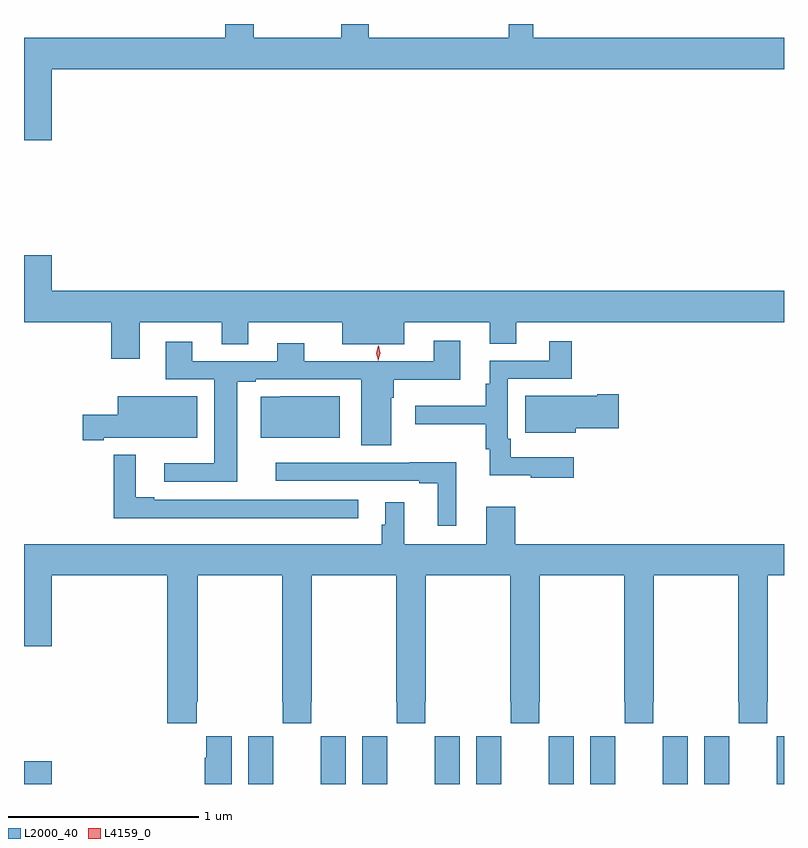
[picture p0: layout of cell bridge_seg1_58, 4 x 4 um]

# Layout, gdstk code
import gdstk
lib = gdstk.Library(unit=1e-6, precision=1e-09)
def R(c, l, rs):  # rectangles x0, y0, x1, y1
    for r in rs: c.add(gdstk.rectangle(r[:2], r[2:], *l))
def P(c, l, *ps):  # polygons
    for p in ps: c.add(gdstk.Polygon(p, *l))
L2000_40 = (2000, 40)
L4159_0 = (4159, 0)

bridge_seg1_58 = lib.new_cell('bridge_seg1_58')
R(bridge_seg1_58, L2000_40, [(440.751,561.289,440.896,561.409)])
P(bridge_seg1_58, L2000_40, [(440.896,565.052),(444.751,565.052),(444.751,565.216),(443.432,565.216),(443.432,565.289),(443.303,565.289),(443.303,565.216),(442.566,565.216),(442.566,565.289),(442.42,565.289),(442.42,565.216),(441.96,565.216),(441.96,565.289),(441.809,565.289),(441.809,565.216),(440.751,565.216),(440.751,564.678),(440.896,564.678)],
  [(441.361,563.72),(441.791,563.72),(441.791,563.603),(441.931,563.603),(441.931,563.72),(442.427,563.72),(442.427,563.603),(442.753,563.603),(442.753,563.72),(443.201,563.72),(443.201,563.606),(443.341,563.606),(443.341,563.72),(444.751,563.72),(444.751,563.884),(440.896,563.884),(440.896,564.073),(440.751,564.073),(440.751,563.72),(441.209,563.72),(441.209,563.526),(441.361,563.526)],
  [(441.874,563.405),(441.97,563.405),(441.97,563.418),(442.526,563.418),(442.526,563.073),(442.684,563.073),(442.684,563.321),(442.697,563.321),(442.697,563.417),(443.047,563.417),(443.047,563.623),(442.907,563.623),(442.907,563.514),(442.225,563.514),(442.225,563.608),(442.085,563.608),(442.085,563.514),(441.637,563.514),(441.637,563.617),(441.497,563.617),(441.497,563.418),(441.752,563.418),(441.752,562.978),(441.489,562.978),(441.489,562.881),(441.874,562.881)],
  [(443.644,563.01),(443.313,563.01),(443.313,563.107),(443.298,563.107),(443.298,563.421),(443.633,563.421),(443.633,563.62),(443.516,563.62),(443.516,563.517),(443.201,563.517),(443.201,563.396),(443.182,563.396),(443.182,563.281),(442.809,563.281),(442.809,563.183),(443.182,563.183),(443.182,563.052),(443.201,563.052),(443.201,562.913),(443.418,562.913),(443.418,562.902),(443.644,562.902)],
  [(443.656,563.162),(443.881,563.162),(443.881,563.34),(443.768,563.34),(443.768,563.332),(443.388,563.332),(443.388,563.139),(443.656,563.139)],
  [(441.172,563.111),(441.664,563.111),(441.664,563.329),(441.245,563.329),(441.245,563.233),(441.06,563.233),(441.06,563.099),(441.172,563.099)],
  [(442.414,563.329),(442.099,563.329),(442.099,563.328),(441.996,563.328),(441.996,563.111),(442.414,563.111)],
  [(442.51,562.785),(441.436,562.785),(441.436,562.798),(441.34,562.798),(441.34,563.023),(441.223,563.023),(441.223,562.688),(442.51,562.688)],
  [(443.026,562.982),(442.78,562.982),(442.78,562.98),(442.41,562.98),(442.41,562.981),(442.077,562.981),(442.077,562.884),(442.832,562.884),(442.832,562.872),(442.928,562.872),(442.928,562.647),(443.026,562.647)],
  [(441.659,561.721),(441.666,561.721),(441.666,562.388),(442.111,562.388),(442.111,561.721),(442.113,561.721),(442.113,561.609),(442.263,561.609),(442.263,561.721),(442.266,561.721),(442.266,562.388),(442.711,562.388),(442.711,561.721),(442.713,561.721),(442.713,561.609),(442.863,561.609),(442.863,561.721),(442.866,561.721),(442.866,562.388),(443.311,562.388),(443.311,561.721),(443.313,561.721),(443.313,561.609),(443.463,561.609),(443.463,561.721),(443.466,561.721),(443.466,562.388),(443.911,562.388),(443.911,561.721),(443.913,561.721),(443.913,561.609),(444.063,561.609),(444.063,561.721),(444.066,561.721),(444.066,562.388),(444.511,562.388),(444.511,561.721),(444.513,561.721),(444.513,561.609),(444.663,561.609),(444.663,561.721),(444.666,561.721),(444.666,562.388),(444.751,562.388),(444.751,562.552),(443.336,562.552),(443.336,562.747),(443.183,562.747),(443.183,562.552),(442.751,562.552),(442.751,562.771),(442.652,562.771),(442.652,562.653),(442.633,562.653),(442.633,562.552),(440.751,562.552),(440.751,562.014),(440.896,562.014),(440.896,562.388),(441.506,562.388),(441.506,561.609),(441.659,561.609)],
  [(444.751,561.541),(444.714,561.541),(444.714,561.428),(444.713,561.428),(444.713,561.289),(444.751,561.289)],
  [(444.463,561.428),(444.462,561.428),(444.462,561.541),(444.332,561.541),(444.332,561.289),(444.463,561.289)],
  [(444.244,561.541),(444.114,561.541),(444.114,561.428),(444.113,561.428),(444.113,561.289),(444.244,561.289)],
  [(443.863,561.428),(443.862,561.428),(443.862,561.541),(443.732,561.541),(443.732,561.289),(443.863,561.289)],
  [(443.644,561.541),(443.514,561.541),(443.514,561.428),(443.513,561.428),(443.513,561.289),(443.644,561.289)],
  [(441.844,561.541),(441.71,561.541),(441.71,561.428),(441.701,561.428),(441.701,561.289),(441.844,561.289)],
  [(442.063,561.428),(442.062,561.428),(442.062,561.541),(441.932,561.541),(441.932,561.289),(442.063,561.289)],
  [(442.444,561.541),(442.314,561.541),(442.314,561.428),(442.313,561.428),(442.313,561.289),(442.444,561.289)],
  [(442.663,561.428),(442.662,561.428),(442.662,561.541),(442.532,561.541),(442.532,561.289),(442.663,561.289)],
  [(443.044,561.541),(442.914,561.541),(442.914,561.428),(442.913,561.428),(442.913,561.289),(443.044,561.289)],
  [(443.263,561.428),(443.262,561.428),(443.262,561.541),(443.132,561.541),(443.132,561.289),(443.263,561.289)])
P(bridge_seg1_58, L4159_0, [(442.616,563.517),(442.616,563.518),(442.606,563.557),(442.616,563.596),(442.617,563.596),(442.617,563.596),(442.626,563.556),(442.616,563.518)])

lib.write_gds('bridge_seg1_58.gds')
